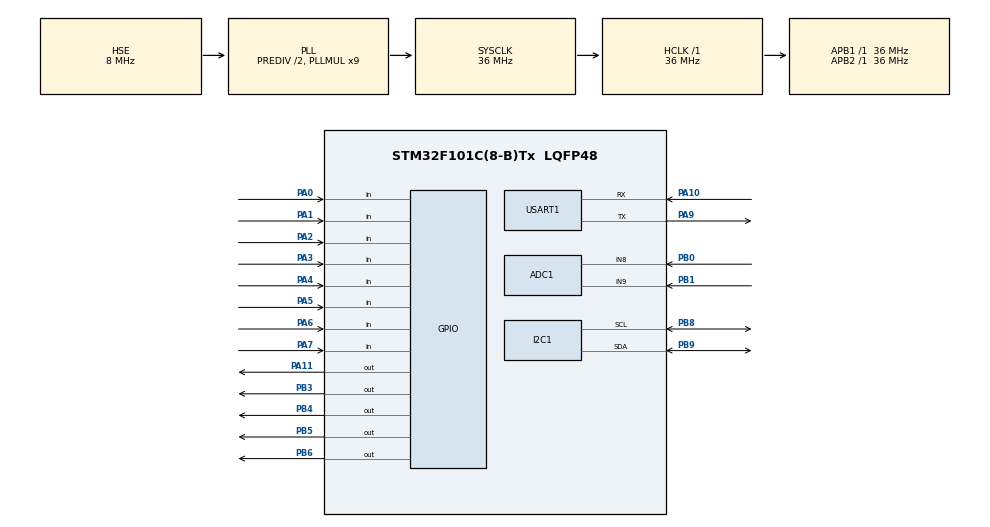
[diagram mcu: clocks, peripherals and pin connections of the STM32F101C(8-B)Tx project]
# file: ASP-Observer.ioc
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ADC1.Channel-0\#ChannelRegularConversion=ADC_CHANNEL_8
ADC1.NbrOfConversionFlag=1
ADC1.Rank-0\#ChannelRegularConversion=1
ADC1.SamplingTime-0\#ChannelRegularConversion=ADC_SAMPLETIME_1CYCLE_5
ADC1.master=1
FREERTOS.INCLUDE_vTaskDelayUntil=1
FREERTOS.Mutexes01=i2cMutex
FREERTOS.Queues01=uartRxQueue,128,uint16_t,NULL
FREERTOS.Tasks01=defaultTask,0,128,StartDefaultTask,As weak
I2C1.DualAddressMode=I2C_DUALADDRESS_DISABLE
I2C1.GeneralCallMode=I2C_GENERALCALL_ENABLE
I2C1.I2C_Mode=I2C_Fast
Mcu.Family=STM32F1
Mcu.Name=STM32F101C(8-B)Tx
Mcu.Package=LQFP48
NVIC.PriorityGroup=NVIC_PRIORITYGROUP_4
NVIC.USART1_IRQn=true\:5\:0\:false\:false\:true\:true
PA0-WKUP.Signal=GPIO_Input
PA1.Signal=GPIO_Input
PA10.Mode=Asynchronous
PA10.Signal=USART1_RX
PA11.Signal=GPIO_Output
PA2.Signal=GPIO_Input
PA3.Signal=GPIO_Input
PA4.Signal=GPIO_Input
PA5.Signal=GPIO_Input
PA6.Signal=GPIO_Input
PA7.Signal=GPIO_Input
PA9.Mode=Asynchronous
PA9.Signal=USART1_TX
PB0.Signal=ADCx_IN8
PB1.Signal=ADCx_IN9
PB3.Signal=GPIO_Output
PB4.Signal=GPIO_Output
PB5.Signal=GPIO_Output
PB6.Signal=GPIO_Output
PB8.Mode=I2C
PB8.Signal=I2C1_SCL
PB9.Mode=I2C
PB9.Signal=I2C1_SDA
PD0-OSC_IN.Mode=HSE-External-Oscillator
PD0-OSC_IN.Signal=RCC_OSC_IN
PD1-OSC_OUT.Mode=HSE-External-Oscillator
PD1-OSC_OUT.Signal=RCC_OSC_OUT
ProjectManager.HeapSize=0x200
ProjectManager.StackSize=0x400
ProjectManager.TargetToolchain=TrueSTUDIO
RCC.ADCPresc=RCC_ADCPCLK2_DIV4
RCC.AHBFreq_Value=36000000
RCC.APB1Freq_Value=36000000
RCC.APB1TimFreq_Value=36000000
RCC.APB2Freq_Value=36000000
RCC.HCLKFreq_Value=36000000
RCC.HSEDivPLL=RCC_HSE_PREDIV_DIV2
RCC.HSIState=RCC_HSI_ON
RCC.PLLMUL=RCC_PLL_MUL9
RCC.PLLSourceVirtual=RCC_PLLSOURCE_HSE
RCC.SYSCLKFreq_VALUE=36000000
RCC.SYSCLKSource=RCC_SYSCLKSOURCE_PLLCLK
SH.ADCx_IN8.0=ADC1_IN8,IN8
SH.ADCx_IN9.0=ADC1_IN9,IN9
VP_FREERTOS_VS_ENABLE.Mode=Enabled
VP_IWDG_VS_IWDG.Mode=IWDG_Activate
VP_SYS_VS_ND.Mode=No_Debug
board=ASP-Observer

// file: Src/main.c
/**
  ******************************************************************************
  * File Name          : main.c
  * Description        : Main program body
  ******************************************************************************
  *
  * COPYRIGHT(c) 2016 STMicroelectronics
  *
  * Redistribution and use in source and binary forms, with or without modification,
  * are permitted provided that the following conditions are met:
  *   1. Redistributions of source code must retain the above copyright notice,
  *      this list of conditions and the following disclaimer.
  *   2. Redistributions in binary form must reproduce the above copyright notice,
  *      this list of conditions and the following disclaimer in the documentation
  *      and/or other materials provided with the distribution.
  *   3. Neither the name of STMicroelectronics nor the names of its contributors
  *      may be used to endorse or promote products derived from this software
  *      without specific prior written permission.
  *
  * THIS SOFTWARE IS PROVIDED BY THE COPYRIGHT HOLDERS AND CONTRIBUTORS "AS IS"
  * AND ANY EXPRESS OR IMPLIED WARRANTIES, INCLUDING, BUT NOT LIMITED TO, THE
  * IMPLIED WARRANTIES OF MERCHANTABILITY AND FITNESS FOR A PARTICULAR PURPOSE ARE
  * DISCLAIMED. IN NO EVENT SHALL THE COPYRIGHT HOLDER OR CONTRIBUTORS BE LIABLE
  * FOR ANY DIRECT, INDIRECT, INCIDENTAL, SPECIAL, EXEMPLARY, OR CONSEQUENTIAL
  * DAMAGES (INCLUDING, BUT NOT LIMITED TO, PROCUREMENT OF SUBSTITUTE GOODS OR
  * SERVICES; LOSS OF USE, DATA, OR PROFITS; OR BUSINESS INTERRUPTION) HOWEVER
  * CAUSED AND ON ANY THEORY OF LIABILITY, WHETHER IN CONTRACT, STRICT LIABILITY,
  * OR TORT (INCLUDING NEGLIGENCE OR OTHERWISE) ARISING IN ANY WAY OUT OF THE USE
  * OF THIS SOFTWARE, EVEN IF ADVISED OF THE POSSIBILITY OF SUCH DAMAGE.
  *
  ******************************************************************************
  */
#include "stm32f1xx_hal.h"
#include "cmsis_os.h"
#include "adc.h"
#include "i2c.h"
#include "iwdg.h"
#include "usart.h"
#include "gpio.h"

/* USER CODE BEGIN PV */
/* Private variables ---------------------------------------------------------*/
/* USER CODE END PV */

void SystemClock_Config(void);
void Error_Handler(void);
void MX_FREERTOS_Init(void);

/* USER CODE BEGIN PFP */
/* Private function prototypes -----------------------------------------------*/
/* USER CODE END PFP */

int main(void)
{

  /* MCU Configuration----------------------------------------------------------*/

  /* Reset of all peripherals, Initializes the Flash interface and the Systick. */
  HAL_Init();

  /* Configure the system clock */
  SystemClock_Config();

  /* Initialize all configured peripherals */
  MX_GPIO_Init();
  MX_ADC1_Init();
  MX_IWDG_Init();
  MX_USART1_UART_Init();
  MX_I2C1_Init();

  /* Call init function for freertos objects (in freertos.c) */
  MX_FREERTOS_Init();

  /* Start scheduler */
  osKernelStart();

  /* We should never get here as control is now taken by the scheduler */

  /* Infinite loop */
  while (1)
  {

  }

}

/** System Clock Configuration
*/
void SystemClock_Config(void)
{

  RCC_OscInitTypeDef RCC_OscInitStruct;
  RCC_ClkInitTypeDef RCC_ClkInitStruct;
  RCC_PeriphCLKInitTypeDef PeriphClkInit;

  RCC_OscInitStruct.OscillatorType = RCC_OSCILLATORTYPE_LSI|RCC_OSCILLATORTYPE_HSE;
  RCC_OscInitStruct.HSEState = RCC_HSE_ON;
  RCC_OscInitStruct.HSEPredivValue = RCC_HSE_PREDIV_DIV2;
  RCC_OscInitStruct.LSIState = RCC_LSI_ON;
  RCC_OscInitStruct.PLL.PLLState = RCC_PLL_ON;
  RCC_OscInitStruct.PLL.PLLSource = RCC_PLLSOURCE_HSE;
  RCC_OscInitStruct.PLL.PLLMUL = RCC_PLL_MUL9;
  if (HAL_RCC_OscConfig(&RCC_OscInitStruct) != HAL_OK)
  {
    Error_Handler();
  }

  RCC_ClkInitStruct.ClockType = RCC_CLOCKTYPE_HCLK|RCC_CLOCKTYPE_SYSCLK
                              |RCC_CLOCKTYPE_PCLK1|RCC_CLOCKTYPE_PCLK2;
  RCC_ClkInitStruct.SYSCLKSource = RCC_SYSCLKSOURCE_PLLCLK;
  RCC_ClkInitStruct.AHBCLKDivider = RCC_SYSCLK_DIV1;
  RCC_ClkInitStruct.APB1CLKDivider = RCC_HCLK_DIV1;
  RCC_ClkInitStruct.APB2CLKDivider = RCC_HCLK_DIV1;
  if (HAL_RCC_ClockConfig(&RCC_ClkInitStruct, FLASH_LATENCY_1) != HAL_OK)
  {
    Error_Handler();
  }

  PeriphClkInit.PeriphClockSelection = RCC_PERIPHCLK_ADC;
  PeriphClkInit.AdcClockSelection = RCC_ADCPCLK2_DIV4;
  if (HAL_RCCEx_PeriphCLKConfig(&PeriphClkInit) != HAL_OK)
  {
    Error_Handler();
  }

  HAL_SYSTICK_Config(HAL_RCC_GetHCLKFreq()/1000);

  HAL_SYSTICK_CLKSourceConfig(SYSTICK_CLKSOURCE_HCLK);

  /* SysTick_IRQn interrupt configuration */
  HAL_NVIC_SetPriority(SysTick_IRQn, 15, 0);
}

void Error_Handler(void)
{
  while(1)
  {
  }
}

/************************ (C) COPYRIGHT STMicroelectronics *****END OF FILE****/

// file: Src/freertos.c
/**
  ******************************************************************************
  * File Name          : freertos.c
  * Description        : Code for freertos applications
  ******************************************************************************
  *
  * COPYRIGHT(c) 2016 STMicroelectronics
  *
  * Redistribution and use in source and binary forms, with or without modification,
  * are permitted provided that the following conditions are met:
  *   1. Redistributions of source code must retain the above copyright notice,
  *      this list of conditions and the following disclaimer.
  *   2. Redistributions in binary form must reproduce the above copyright notice,
  *      this list of conditions and the following disclaimer in the documentation
  *      and/or other materials provided with the distribution.
  *   3. Neither the name of STMicroelectronics nor the names of its contributors
  *      may be used to endorse or promote products derived from this software
  *      without specific prior written permission.
  *
  * THIS SOFTWARE IS PROVIDED BY THE COPYRIGHT HOLDERS AND CONTRIBUTORS "AS IS"
  * AND ANY EXPRESS OR IMPLIED WARRANTIES, INCLUDING, BUT NOT LIMITED TO, THE
  * IMPLIED WARRANTIES OF MERCHANTABILITY AND FITNESS FOR A PARTICULAR PURPOSE ARE
  * DISCLAIMED. IN NO EVENT SHALL THE COPYRIGHT HOLDER OR CONTRIBUTORS BE LIABLE
  * FOR ANY DIRECT, INDIRECT, INCIDENTAL, SPECIAL, EXEMPLARY, OR CONSEQUENTIAL
  * DAMAGES (INCLUDING, BUT NOT LIMITED TO, PROCUREMENT OF SUBSTITUTE GOODS OR
  * SERVICES; LOSS OF USE, DATA, OR PROFITS; OR BUSINESS INTERRUPTION) HOWEVER
  * CAUSED AND ON ANY THEORY OF LIABILITY, WHETHER IN CONTRACT, STRICT LIABILITY,
  * OR TORT (INCLUDING NEGLIGENCE OR OTHERWISE) ARISING IN ANY WAY OUT OF THE USE
  * OF THIS SOFTWARE, EVEN IF ADVISED OF THE POSSIBILITY OF SUCH DAMAGE.
  *
  ******************************************************************************
  */

#include "FreeRTOS.h"
#include "task.h"
#include "cmsis_os.h"

/* USER CODE BEGIN Includes */
#include "usart.h"
#include "shell.h"
#include "adc.h"
/* USER CODE END Includes */

osThreadId defaultTaskHandle;
osMessageQId uartRxQueueHandle;
osMutexId i2cMutexHandle;

/* USER CODE BEGIN Variables */
uint8_t usartRxBuff;
/* USER CODE END Variables */

void StartDefaultTask(void const * argument);

void MX_FREERTOS_Init(void); /* (MISRA C 2004 rule 8.1) */

/* USER CODE BEGIN FunctionPrototypes */
void alarmOutTask(void const * argument);
void stm32LiveTask(void const * argument);
void stm32Usart1Task(void const * argument);

/* USER CODE END FunctionPrototypes */

/* Hook prototypes */

/* Init FreeRTOS */

void MX_FREERTOS_Init(void) {

  /* Create the mutex(es) */
  /* definition and creation of i2cMutex */
  osMutexDef(i2cMutex);
  i2cMutexHandle = osMutexCreate(osMutex(i2cMutex));

  /* Create the thread(s) */
  /* definition and creation of defaultTask */
  osThreadDef(defaultTask, StartDefaultTask, osPriorityNormal, 0, configMINIMAL_STACK_SIZE - 96 );
  defaultTaskHandle = osThreadCreate(osThread(defaultTask), NULL);

  /* USER CODE BEGIN RTOS_THREADS */
  /* add threads, ... */
  osThreadDef(stm32AlarmOut, alarmOutTask, osPriorityNormal, 0, configMINIMAL_STACK_SIZE - 96 );
  defaultTaskHandle = osThreadCreate(osThread(stm32AlarmOut), NULL);

  osThreadDef(stm32LiveCheck, stm32LiveTask, osPriorityNormal, 0, configMINIMAL_STACK_SIZE -32 );
  defaultTaskHandle = osThreadCreate(osThread(stm32LiveCheck), NULL);

  osThreadDef(stm32Usart, stm32Usart1Task, osPriorityNormal, 0, configMINIMAL_STACK_SIZE + 128 );
  defaultTaskHandle = osThreadCreate(osThread(stm32Usart), NULL);
  /* USER CODE END RTOS_THREADS */

  /* Create the queue(s) */
  /* definition and creation of uartRxQueue */
  osMessageQDef(uartRxQueue, CONFIG_SYS_CBSIZE, uint8_t);
  uartRxQueueHandle = osMessageCreate(osMessageQ(uartRxQueue), NULL);

  /* USER CODE BEGIN RTOS_QUEUES */
  /* add queues, ... */
#ifdef	DEBUG_PARSER
  	  printf("FreeRTOS init complete\n");
#endif
  /* USER CODE END RTOS_QUEUES */
}

/* StartDefaultTask function */
__weak void StartDefaultTask(void const * argument)
{

  for(;;)
  {
    osDelay(1);
  }
}

/* USER CODE BEGIN Application */
/* stm32LiveTask function */
void stm32LiveTask(void const * argument)
{
	uint8_t count = 0;

	for(;;)
	{
		if(count % 2)	HAL_GPIO_WritePin(GPIOB, GPIO_PIN_5, GPIO_PIN_SET);
		else			HAL_GPIO_WritePin(GPIOB, GPIO_PIN_5, GPIO_PIN_RESET);

		if(count < 100) 	count++;
		else				count = 0;

		adcTest();

		osDelay(1000);
	}
}

/* alarmOutTask function */
void alarmOutTask(void const * argument)
{
	for(;;)
	{
		osDelay(1000);
	}
}

void stm32Usart1Task(void const * argument)
{
	HAL_UART_Receive_IT(&huart1, &usartRxBuff, USART_RX_BUFF_SIZE);

	for(;;)
	{
		stm32ShellCommand();
		osDelay(10);
	}
}

void vApplicationStackOverflowHook( TaskHandle_t xTask,signed char *pcTaskName )
{
	printf("%s stack overlow \n", (char*)pcTaskName);
}

void vApplicationMallocFailedHook( void )
{
	printf("FreeRTOS memory allocation failed\n");
	printf("Check all of Task Stack Size or data + bss Size\n");
}

/* USER CODE END Application */

/************************ (C) COPYRIGHT STMicroelectronics *****END OF FILE****/
